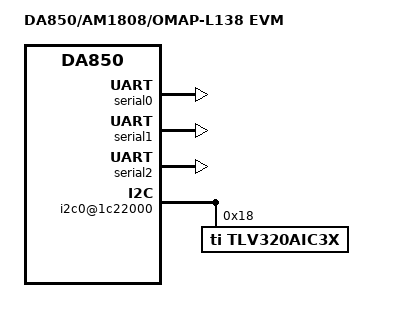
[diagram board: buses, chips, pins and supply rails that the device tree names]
/*
 * Device Tree for DA850 EVM board
 *
 * Copyright (C) 2012 Texas Instruments Incorporated - http://www.ti.com/
 *
 * This program is free software; you can redistribute  it and/or modify it
 * under  the terms of  the GNU General  Public License as published by the
 * Free Software Foundation, version 2.
 */
/dts-v1/;
/include/ "da850.dtsi"

/ {
	compatible = "ti,da850-evm", "ti,da850";
	model = "DA850/AM1808/OMAP-L138 EVM";

	soc {
		serial0: serial@1c42000 {
			status = "okay";
		};
		serial1: serial@1d0c000 {
			status = "okay";
		};
		serial2: serial@1d0d000 {
			status = "okay";
		};
		i2c0@1c22000 {
			status = "okay";

			tlv320aic3x: tlv320aic3x@18 {
				compatible = "ti,tlv320aic3x";
				reg = <0x18>;
			};
		};
	};
};
&pmx_core{
	pinctrl-names = "default";
	pinctrl-0 = <
		&i2c0_pins
	>;

	i2c0_pins: pinmux_i2c0_pins{
		pinctrl-single,bits = <
			0x10 0x00002200 0x0000ff00      /* I2C0_SDA, I2C0_SCL */
		>;
	};
};
